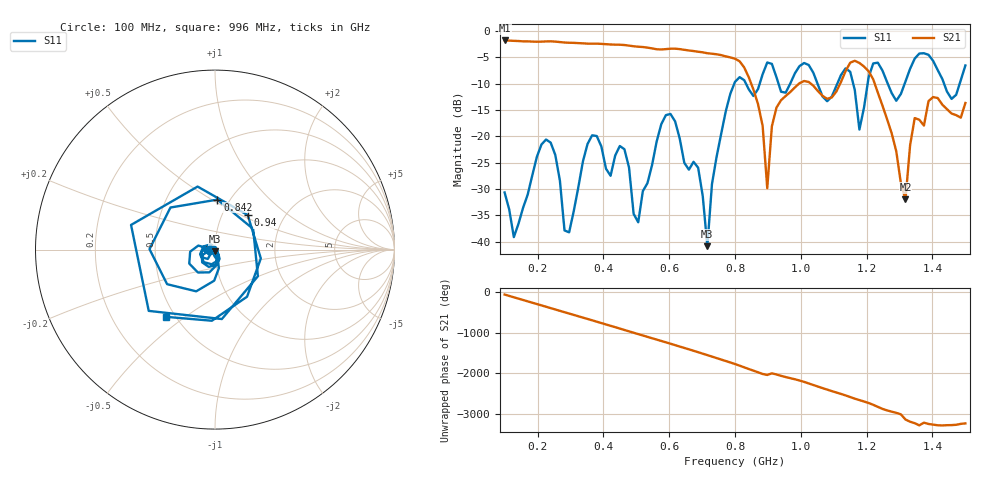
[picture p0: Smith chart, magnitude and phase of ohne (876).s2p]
! NanoVNA-App
! Date: 2025-09-25 14:27:37
! Start: 100MHz Stop: 1,5GHz Points: 101
! S-Parameter data: F S11 S21 S12 S22
# Hz S RI R 50
!  Frequency  S11_Real  S11_Imag  S21_Real  S21_Imag  S12_Real  S12_Imag  S22_Real  S22_Imag
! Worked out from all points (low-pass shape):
!   101 points, 100 MHz to 1.5 GHz, reference 50 ohm
!   highest |S21| = -1.79 dB at 100 MHz (marker M1); lowest = -32.0 dB at 1.318 GHz (marker M2)
!   |S21| within 3 dB of the highest: start of sweep to 770.8 MHz
!   lowest |S11| = -40.8 dB at 716 MHz (marker M3), VSWR 1.02, Z = 49.9 - j0.897 ohm
!   |S11| at or under -10 dB: start of sweep to 797.8 MHz; 833.3 MHz to 875.1 MHz (41.77 MHz wide, 4.89 % of centre); 1.051 GHz to 1.111 GHz (60.1 MHz wide, 5.56 % of centre) (the widest 3 of 7)
!   S12 and S22 are empty: the file has one direction only
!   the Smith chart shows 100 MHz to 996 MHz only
!   S11 on the Smith chart (normalised r, x): 100 MHz: 0.94, -0.01; 842 MHz: 0.88, +0.53; 940 MHz: 1.32, +0.55; 996 MHz: 0.44, -0.42
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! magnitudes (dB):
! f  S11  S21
! 100 MHz  -30.6  -1.8
! 128 MHz  -39.1  -1.9
! 226 MHz  -20.6  -2.0
! 296 MHz  -38.2  -2.2
! 338 MHz  -24.7  -2.3
! 464 MHz  -22.4  -2.7
! 506 MHz  -36.3  -3.0
! 576 MHz  -17.7  -3.5
! 688 MHz  -25.9  -3.9
! 716 MHz  -40.8  -4.2
! 800 MHz  -9.7  -5.3
! 842 MHz  -11.1  -8.8
! 898 MHz  -6.0  -29.8
! 940 MHz  -11.5  -13.1
! 996 MHz  -6.7  -9.9
! 1.038 GHz  -7.9  -10.4
! 1.178 GHz  -18.7  -6.1
! 1.22 GHz  -6.2  -9.2
! 1.276 GHz  -11.8  -19.4
! 1.318 GHz  -9.6  -32.0
! 1.346 GHz  -5.2  -16.5
! 1.5 GHz  -6.5  -13.7
